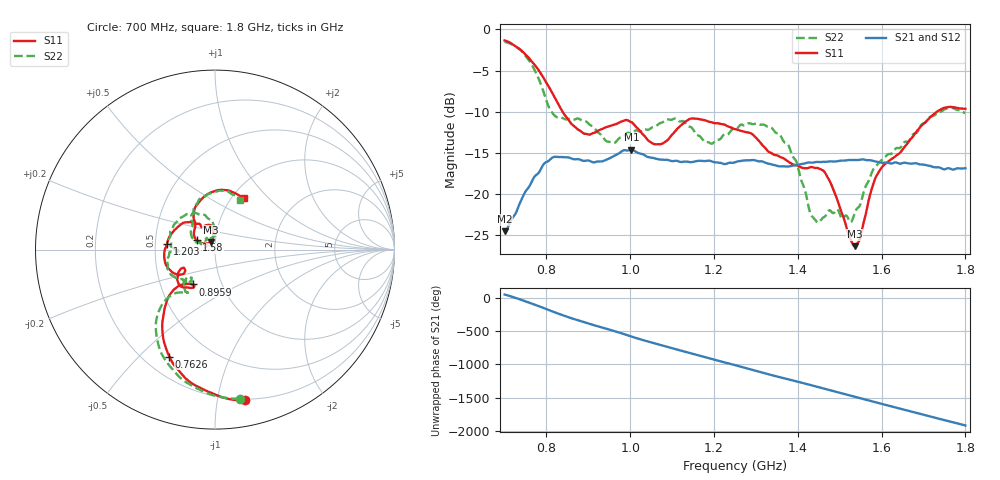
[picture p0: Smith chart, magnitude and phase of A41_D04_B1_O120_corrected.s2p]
! Created with skrf 1.9.0 (http://scikit-rf.org).
# Hz S RI R 50.0
!freq ReS11 ImS11 ReS21 ImS21 ReS12 ImS12 ReS22 ImS22
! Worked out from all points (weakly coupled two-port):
!   1601 points, 700 MHz to 1.8 GHz, reference 50 ohm
!   highest |S21| = -14.65 dB at 1.002 GHz (marker M1); lowest = -24.6 dB at 700.7 MHz (marker M2)
!   lowest |S11| = -26.4 dB at 1.535 GHz (marker M3), VSWR 1.10, Z = 47.6 + j4.05 ohm
!   |S11| at or under -10 dB: 838 MHz to 1.732 GHz (894.4 MHz wide, 69.6 % of centre)
!   |S22| runs from -23.5 to -1.5 dB; largest |S21 - S12| = 0.0034
!   S11 on the Smith chart (normalised r, x): 700 MHz: 0.19, -1.20; 762.6 MHz: 0.30, -0.62; 895.9 MHz: 0.73, -0.30; 1.203 GHz: 0.58, +0.04; 1.58 GHz: 0.81, +0.09; 1.8 GHz: 1.13, +0.73
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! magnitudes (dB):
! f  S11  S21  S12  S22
! 700 MHz  -1.3  -24.6  -24.3  -1.5
! 700.7 MHz  -1.4  -24.6  -24.3  -1.5
! 762.6 MHz  -3.8  -18.8  -18.7  -4.1
! 816.9 MHz  -8.0  -15.5  -15.6  -10.4
! 883.6 MHz  -12.5  -15.9  -15.8  -11.1
! 895.9 MHz  -12.7  -16.0  -16.0  -11.3
! 956.4 MHz  -11.7  -15.5  -15.5  -13.8
! 1.002 GHz  -11.3  -14.6  -14.8  -12.7
! 1.067 GHz  -14.0  -15.8  -15.8  -11.5
! 1.142 GHz  -10.9  -16.2  -16.1  -11.8
! 1.203 GHz  -11.4  -16.2  -16.2  -13.5
! 1.25 GHz  -12.1  -16.2  -16.1  -12.1
! 1.357 GHz  -15.5  -16.7  -16.6  -12.8
! 1.396 GHz  -16.5  -16.5  -16.5  -16.1
! 1.434 GHz  -16.8  -16.2  -16.2  -22.7
! 1.471 GHz  -18.0  -16.1  -16.1  -22.2
! 1.535 GHz  -26.4  -15.9  -15.9  -22.4
! 1.548 GHz  -25.4  -15.9  -15.9  -21.4
! 1.58 GHz  -18.8  -16.0  -16.0  -17.1
! 1.617 GHz  -16.0  -16.3  -16.2  -15.2
! 1.733 GHz  -10.0  -16.8  -16.8  -10.2
! 1.8 GHz  -9.7  -16.9  -16.9  -10.2
